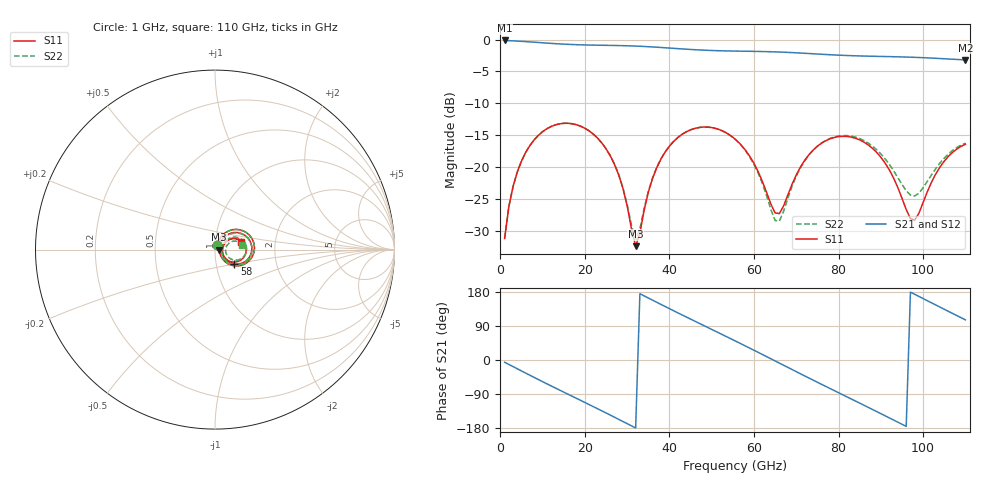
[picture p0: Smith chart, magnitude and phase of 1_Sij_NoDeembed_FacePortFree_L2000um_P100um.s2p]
! Touchstone file exported from HFSS 2024.2.0
!  File:  C:/Users/vaintrug/Documents/Ansoft_Workspace/Comparaison_Calculs_HFSS/1_VarPort.aedt
!  Generated:  03:22:18 PM Jan 21, 2025
!  Design:  1_NoDeembed_FacePortFree
!  Project:  1_VarPort
!  Setup:  Setup1
!  Solution:  Sweep
! Variables:
!  $Lenght = 2000um
!  $PortSize = 100um
!  Gap = 30um
!  Th = 2um
!  X_centralStrip = 20um
!  X_masse = 200um
!  Y_Sub = 2mm
!  Z_Box = 400um
!  Z_Sub = 200um
# GHz S MA R 50.000000
! Terminal data exported
! Port[1] = 1
! Port[2] = 2
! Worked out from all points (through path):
!   110 points, 1 GHz to 110 GHz, reference 50 ohm
!   highest |S21| = -0.13 dB at 1 GHz (marker M1); lowest = -3.2 dB at 110 GHz (marker M2)
!   group delay of S21, straight-line fit = 15.5 ps
!   lowest |S11| = -32.5 dB at 32 GHz (marker M3), VSWR 1.05, Z = 52.4 - j0.112 ohm
!   |S11| at or under -10 dB: start of sweep to end of sweep
!   |S22| runs from -31.5 to -13.1 dB; largest |S21 - S12| = 2e-15
!   S11 on the Smith chart (normalised r, x): 1 GHz: 1.03, +0.05; 58 GHz: 1.22, -0.20; 110 GHz: 1.33, +0.12
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1  0.02735 61.0  0.9854 -5.9  0.9854 -5.9  0.02735 61.0
! Gamma 5.75934861499492 50.0241537677474 5.71920780751118 49.9948924540211
! Port Impedance 50 0 50 0
3  0.07019 65.6  0.9783 -17.4  0.9783 -17.4  0.07018 65.6
7  0.1475 48.6  0.9602 -40.3  0.9602 -40.3  0.1475 48.7
13  0.2138 17.7  0.9301 -73.8  0.9301 -73.8  0.2138 17.9
20  0.2011 -17.6  0.9087 -112.2  0.9087 -112.2  0.2012 -17.1
27  0.1045 -48.0  0.8998 -151.1  0.8998 -151.1  0.1051 -46.7
32  0.02382 -2.6  0.89 -179.4  0.89 -179.4  0.02674 -2.1
35  0.06321 54.2  0.8801 163.6  0.8801 163.6  0.06439 51.6
38  0.1155 48.7  0.8678 146.6  0.8678 146.6  0.1161 47.1
43  0.1804 27.7  0.8454 118.9  0.8454 118.9  0.1806 26.6
47  0.204 9.4  0.8302 97.0  0.8302 97.0  0.2039 8.4
56  0.1602 -29.8  0.8125 47.9  0.8125 47.9  0.1592 -31.1
58  0.135 -36.7  0.8107 36.8  0.8107 36.8  0.1337 -38.4
66  0.04297 5.2  0.799 -8.2  0.799 -8.2  0.03746 8.2
70  0.08656 35.4  0.7879 -30.8  0.7879 -30.8  0.08474 40.1
74  0.1357 26.9  0.7743 -53.2  0.7743 -53.2  0.1356 30.7
78  0.1663 11.7  0.7611 -75.3  0.7611 -75.3  0.1675 15.5
83  0.1714 -9.1  0.7483 -102.8  0.7483 -102.8  0.1744 -4.5
92  0.09476 -40.0  0.7356 -152.7  0.7356 -152.7  0.1047 -30.6
98  0.03813 5.2  0.726 173.4  0.726 173.4  0.05908 0.5
104  0.09989 36.4  0.7106 139.5  0.7106 139.5  0.1074 25.2
110  0.1507 17.1  0.6931 105.9  0.6931 105.9  0.1534 9.8
